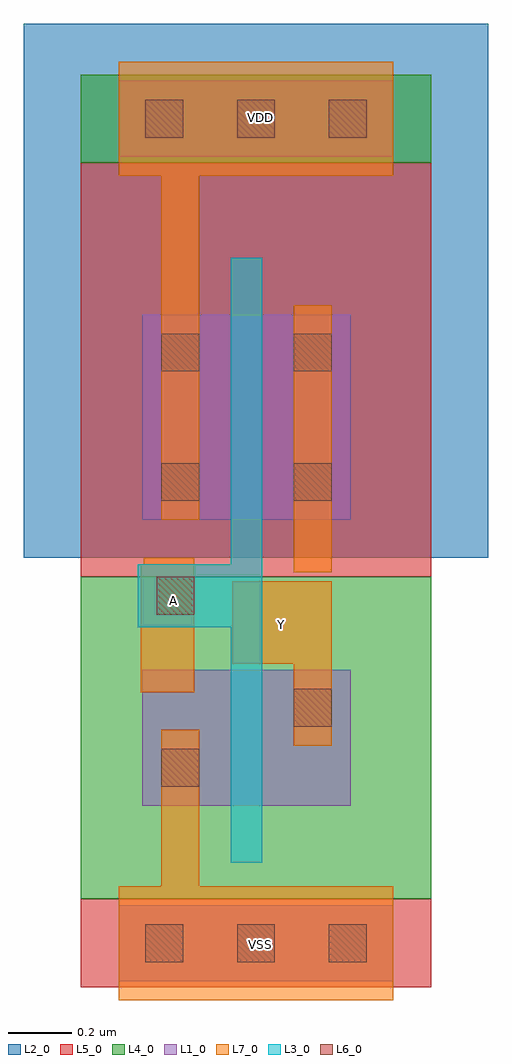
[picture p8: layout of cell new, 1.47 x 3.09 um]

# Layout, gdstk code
import gdstk
lib = gdstk.Library(unit=1e-6, precision=1e-09)
def R(c, l, rs):  # rectangles x0, y0, x1, y1
    for r in rs: c.add(gdstk.rectangle(r[:2], r[2:], *l))
def A(c, l, x, y, w, h, nx, ny, dx, dy):  # array of equal rectangles
    R(c, l, [(x+i*dx, y+j*dy, x+i*dx+w, y+j*dy+h) for i in range(nx) for j in range(ny)])
L1_0 = (1, 0)
L2_0 = (2, 0)
L3_0 = (3, 0)
L4_0 = (4, 0)
L5_0 = (5, 0)
L6_0 = (6, 0)
L7_0 = (7, 0)

new = lib.new_cell('new')
R(new, L1_0, [(-0.33,-0.435,0.54,-0.195), (-0.255,0.12,0.405,0.55), (-0.255,1.025,0.405,1.675), (-0.33,2.175,0.54,2.415)])
R(new, L2_0, [(-0.63,0.905,0.84,2.595)])
R(new, L3_0, [(0.025,-0.06,0.125,1.855), (-0.27,0.685,0.125,0.885)])
R(new, L4_0, [(-0.45,-0.175,0.66,0.845), (-0.45,2.155,0.66,2.435)])
R(new, L5_0, [(-0.45,-0.455,0.66,-0.175), (-0.45,0.845,0.66,2.155)])
A(new, L6_0, -0.245, -0.375, 0.12, 0.12, 3, 2, 0.29, 2.61)
R(new, L6_0, [(-0.195,0.18,-0.075,0.3), (0.225,0.37,0.345,0.49), (-0.21,0.725,-0.09,0.845), (-0.195,1.085,-0.075,1.205), (0.225,1.085,0.345,1.205), (-0.195,1.495,-0.075,1.615), (0.225,1.495,0.345,1.615)])
R(new, L7_0, [(-0.33,-0.495,0.54,-0.135), (-0.195,-0.135,-0.075,0.36), (0.225,0.31,0.345,0.57), (-0.26,0.48,-0.09,0.885), (0.03,0.57,0.345,0.83), (0.225,0.86,0.345,1.705), (-0.25,0.885,-0.09,0.905), (-0.195,1.025,-0.075,2.115), (-0.33,2.115,0.54,2.475)])
new.add(gdstk.Label('Y', (0.185,0.695), layer=7, texttype=251))
new.add(gdstk.Label('VSS', (0.12,-0.32), layer=7, texttype=251))
new.add(gdstk.Label('VDD', (0.12,2.3), layer=7, texttype=251))
new.add(gdstk.Label('A', (-0.155,0.77), layer=3, texttype=251))

lib.write_gds('new.gds')
